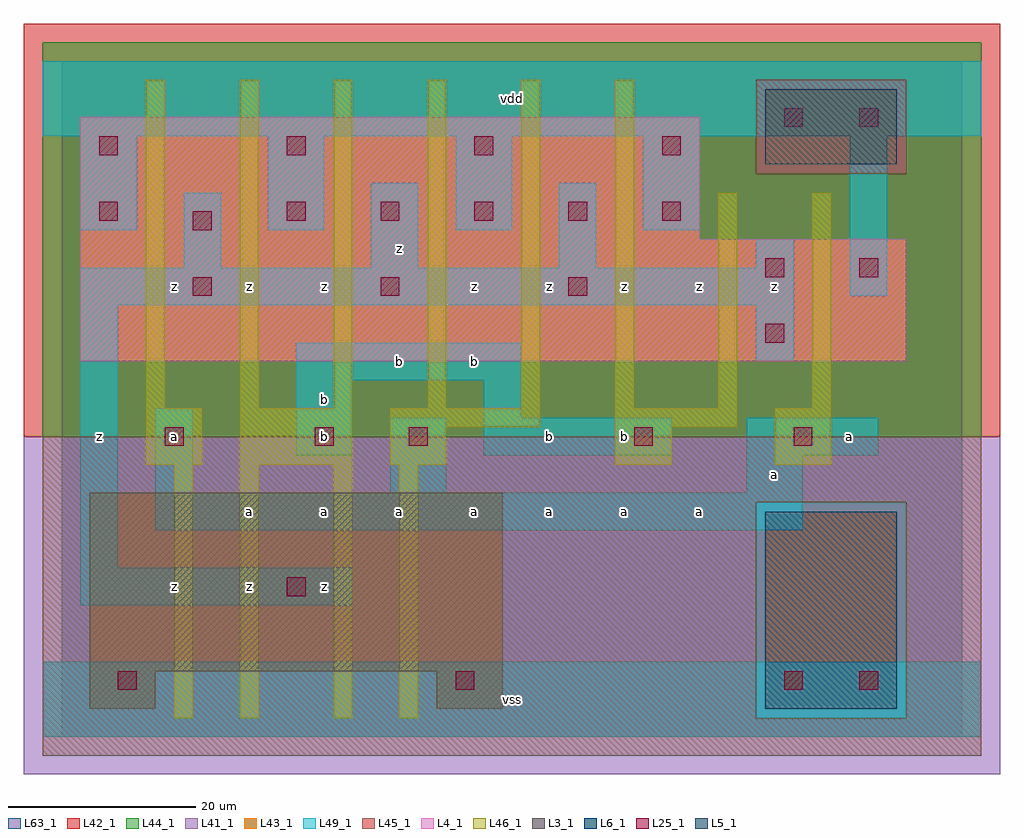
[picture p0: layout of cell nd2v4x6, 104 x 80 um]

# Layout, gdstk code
import gdstk
lib = gdstk.Library(unit=1e-6, precision=1e-09)
def R(c, l, rs):  # rectangles x0, y0, x1, y1
    for r in rs: c.add(gdstk.rectangle(r[:2], r[2:], *l))
def A(c, l, x, y, w, h, nx, ny, dx, dy):  # array of equal rectangles
    R(c, l, [(x+i*dx, y+j*dy, x+i*dx+w, y+j*dy+h) for i in range(nx) for j in range(ny)])
L3_1 = (3, 1)
L4_1 = (4, 1)
L5_1 = (5, 1)
L6_1 = (6, 1)
L25_1 = (25, 1)
L41_1 = (41, 1)
L42_1 = (42, 1)
L43_1 = (43, 1)
L44_1 = (44, 1)
L45_1 = (45, 1)
L46_1 = (46, 1)
L49_1 = (49, 1)
L63_1 = (63, 1)

nd2v4x6 = lib.new_cell('nd2v4x6')
R(nd2v4x6, L3_1, [(3,3,10,7), (40,3,47,7), (3,7,47,26)])
R(nd2v4x6, L4_1, [(2,40,90,53), (2,53,68,66)])
R(nd2v4x6, L5_1, [(75,61,89,69)])
R(nd2v4x6, L6_1, [(75,3,89,24), (75,3,89,24)])
A(nd2v4x6, L25_1, 14, 47, 2, 2, 3, 1, 20, 0)
A(nd2v4x6, L25_1, 24, 55, 2, 2, 5, 1, 10, 0)
A(nd2v4x6, L25_1, 4, 62, 2, 2, 4, 1, 20, 0)
R(nd2v4x6, L25_1, [(6,5,8,7), (42,5,44,7), (77,5,79,7), (85,5,87,7), (24,15,26,17), (11,31,13,33), (27,31,29,33), (37,31,39,33), (61,31,63,33), (78,31,80,33), (75,42,77,44), (75,49,77,51), (85,49,87,51), (14,54,16,56), (4,55,6,57), (77,65,79,67), (85,65,87,67)])
R(nd2v4x6, L41_1, [(-4,-4,100,32)])
R(nd2v4x6, L42_1, [(-4,32,100,76)])
R(nd2v4x6, L43_1, [(3,3,10,7), (40,3,47,7), (75,3,89,24), (3,7,47,26), (2,40,90,53), (2,53,68,66), (75,61,89,69)])
R(nd2v4x6, L44_1, [(74,2,90,25), (-2,32,98,60), (-2,60,74,70), (90,60,98,70), (-2,70,98,74)])
R(nd2v4x6, L45_1, [(-2,-2,98,2), (-2,2,74,25), (90,2,98,25), (-2,25,98,32), (74,60,90,70)])
A(nd2v4x6, L46_1, 9, 35, 2, 35, 6, 1, 10, 0)
R(nd2v4x6, L46_1, [(12,2,14,29), (19,2,21,29), (29,2,31,29), (36,2,38,29), (9,29,15,35), (19,29,31,35), (35,29,41,33), (59,29,65,33), (76,29,82,35), (35,33,51,35), (59,33,72,35), (70,35,72,58), (80,35,82,58)])
A(nd2v4x6, L49_1, 2, 54, 6, 10, 4, 1, 20, 0)
R(nd2v4x6, L49_1, [(-2,0,98,8), (2,14,31,18), (2,18,6,46), (10,22,79,26), (10,26,14,35), (35,26,41,34), (73,26,79,30), (25,30,31,38), (45,30,65,34), (73,30,87,34), (45,34,49,38), (25,38,49,42), (74,40,78,46), (2,46,78,50), (84,47,88,64), (13,50,17,58), (33,50,38,59), (53,50,57,59), (74,50,78,53), (-2,64,98,72)])
R(nd2v4x6, L63_1, [(0,0,96,72)])
nd2v4x6.add(gdstk.Label('z', (12,16), layer=49, texttype=1))
nd2v4x6.add(gdstk.Label('a', (12,32), layer=49, texttype=1))
nd2v4x6.add(gdstk.Label('z', (4,32), layer=49, texttype=1))
nd2v4x6.add(gdstk.Label('z', (12,48), layer=49, texttype=1))
nd2v4x6.add(gdstk.Label('z', (28,16), layer=49, texttype=1))
nd2v4x6.add(gdstk.Label('z', (20,16), layer=49, texttype=1))
nd2v4x6.add(gdstk.Label('a', (20,24), layer=49, texttype=1))
nd2v4x6.add(gdstk.Label('a', (28,24), layer=49, texttype=1))
nd2v4x6.add(gdstk.Label('b', (28,32), layer=49, texttype=1))
nd2v4x6.add(gdstk.Label('b', (28,36), layer=49, texttype=1))
nd2v4x6.add(gdstk.Label('z', (20,48), layer=49, texttype=1))
nd2v4x6.add(gdstk.Label('z', (28,48), layer=49, texttype=1))
nd2v4x6.add(gdstk.Label('vss', (48,4), layer=49, texttype=1))
nd2v4x6.add(gdstk.Label('a', (36,24), layer=49, texttype=1))
nd2v4x6.add(gdstk.Label('a', (44,24), layer=49, texttype=1))
nd2v4x6.add(gdstk.Label('a', (52,24), layer=49, texttype=1))
nd2v4x6.add(gdstk.Label('b', (52,32), layer=49, texttype=1))
nd2v4x6.add(gdstk.Label('b', (36,40), layer=49, texttype=1))
nd2v4x6.add(gdstk.Label('b', (44,40), layer=49, texttype=1))
nd2v4x6.add(gdstk.Label('z', (36,52), layer=49, texttype=1))
nd2v4x6.add(gdstk.Label('z', (44,48), layer=49, texttype=1))
nd2v4x6.add(gdstk.Label('z', (52,48), layer=49, texttype=1))
nd2v4x6.add(gdstk.Label('vdd', (48,68), layer=49, texttype=1))
nd2v4x6.add(gdstk.Label('a', (60,24), layer=49, texttype=1))
nd2v4x6.add(gdstk.Label('a', (68,24), layer=49, texttype=1))
nd2v4x6.add(gdstk.Label('a', (76,28), layer=49, texttype=1))
nd2v4x6.add(gdstk.Label('b', (60,32), layer=49, texttype=1))
nd2v4x6.add(gdstk.Label('z', (60,48), layer=49, texttype=1))
nd2v4x6.add(gdstk.Label('z', (68,48), layer=49, texttype=1))
nd2v4x6.add(gdstk.Label('z', (76,48), layer=49, texttype=1))
nd2v4x6.add(gdstk.Label('a', (84,32), layer=49, texttype=1))

lib.write_gds('nd2v4x6.gds')
